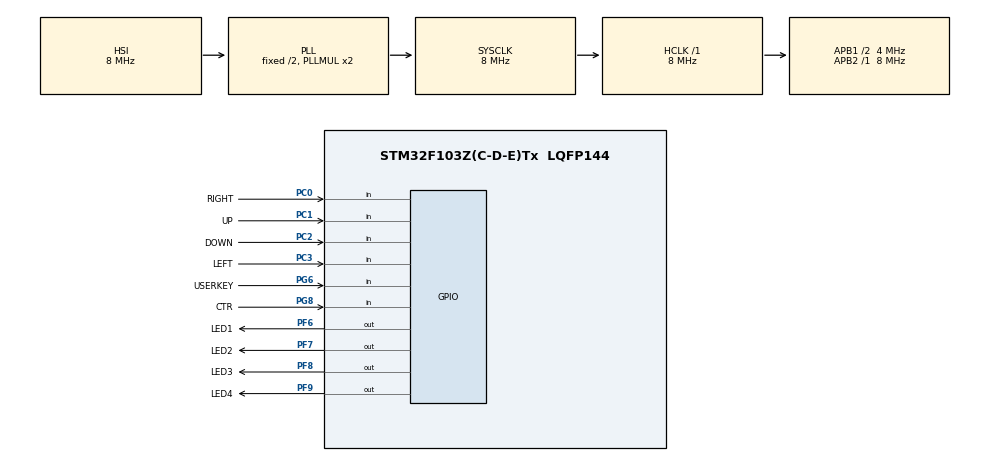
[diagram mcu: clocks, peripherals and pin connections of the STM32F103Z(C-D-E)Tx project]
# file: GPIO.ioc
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Mcu.Family=STM32F1
Mcu.Name=STM32F103Z(C-D-E)Tx
Mcu.Package=LQFP144
NVIC.PriorityGroup=NVIC_PRIORITYGROUP_4
OSC_IN.Mode=HSE-External-Oscillator
OSC_IN.Signal=RCC_OSC_IN
OSC_OUT.Mode=HSE-External-Oscillator
OSC_OUT.Signal=RCC_OSC_OUT
PC0.GPIO_Label=RIGHT
PC0.GPIO_PuPd=GPIO_PULLUP
PC0.Signal=GPIO_Input
PC1.GPIO_Label=UP
PC1.GPIO_PuPd=GPIO_PULLUP
PC1.Signal=GPIO_Input
PC2.GPIO_Label=DOWN
PC2.GPIO_PuPd=GPIO_PULLUP
PC2.Signal=GPIO_Input
PC3.GPIO_Label=LEFT
PC3.GPIO_PuPd=GPIO_PULLUP
PC3.Signal=GPIO_Input
PF6.GPIO_Label=LED1
PF6.GPIO_ModeDefaultOutputPP=GPIO_MODE_OUTPUT_PP
PF6.PinState=GPIO_PIN_RESET
PF6.Signal=GPIO_Output
PF7.GPIO_Label=LED2
PF7.GPIO_ModeDefaultOutputPP=GPIO_MODE_OUTPUT_PP
PF7.PinState=GPIO_PIN_RESET
PF7.Signal=GPIO_Output
PF8.GPIO_Label=LED3
PF8.GPIO_ModeDefaultOutputPP=GPIO_MODE_OUTPUT_PP
PF8.PinState=GPIO_PIN_RESET
PF8.Signal=GPIO_Output
PF9.GPIO_Label=LED4
PF9.GPIO_ModeDefaultOutputPP=GPIO_MODE_OUTPUT_PP
PF9.PinState=GPIO_PIN_RESET
PF9.Signal=GPIO_Output
PG6.GPIO_Label=USERKEY
PG6.GPIO_PuPd=GPIO_PULLUP
PG6.Signal=GPIO_Input
PG8.GPIO_Label=CTR
PG8.GPIO_PuPd=GPIO_PULLUP
PG8.Signal=GPIO_Input
ProjectManager.HeapSize=0x200
ProjectManager.StackSize=0x400
ProjectManager.TargetToolchain=MDK-ARM V5
RCC.AHBFreq_Value=8000000
RCC.APB1CLKDivider=RCC_HCLK_DIV2
RCC.APB1Freq_Value=4000000
RCC.APB1TimFreq_Value=8000000
RCC.APB2Freq_Value=8000000
RCC.APB2TimFreq_Value=8000000
RCC.HCLKFreq_Value=8000000
RCC.SYSCLKFreq_VALUE=8000000
RCC.SYSCLKSource=RCC_SYSCLKSOURCE_PLLCLK
RCC.USBFreq_Value=8000000
VP_SYS_VS_ND.Mode=No_Debug
board=GPIO

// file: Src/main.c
/**
  ******************************************************************************
  * File Name          : main.c
  * Description        : Main program body
  ******************************************************************************
  *
  * COPYRIGHT(c) 2016 STMicroelectronics
  *
  * Redistribution and use in source and binary forms, with or without modification,
  * are permitted provided that the following conditions are met:
  *   1. Redistributions of source code must retain the above copyright notice,
  *      this list of conditions and the following disclaimer.
  *   2. Redistributions in binary form must reproduce the above copyright notice,
  *      this list of conditions and the following disclaimer in the documentation
  *      and/or other materials provided with the distribution.
  *   3. Neither the name of STMicroelectronics nor the names of its contributors
  *      may be used to endorse or promote products derived from this software
  *      without specific prior written permission.
  *
  * THIS SOFTWARE IS PROVIDED BY THE COPYRIGHT HOLDERS AND CONTRIBUTORS "AS IS"
  * AND ANY EXPRESS OR IMPLIED WARRANTIES, INCLUDING, BUT NOT LIMITED TO, THE
  * IMPLIED WARRANTIES OF MERCHANTABILITY AND FITNESS FOR A PARTICULAR PURPOSE ARE
  * DISCLAIMED. IN NO EVENT SHALL THE COPYRIGHT HOLDER OR CONTRIBUTORS BE LIABLE
  * FOR ANY DIRECT, INDIRECT, INCIDENTAL, SPECIAL, EXEMPLARY, OR CONSEQUENTIAL
  * DAMAGES (INCLUDING, BUT NOT LIMITED TO, PROCUREMENT OF SUBSTITUTE GOODS OR
  * SERVICES; LOSS OF USE, DATA, OR PROFITS; OR BUSINESS INTERRUPTION) HOWEVER
  * CAUSED AND ON ANY THEORY OF LIABILITY, WHETHER IN CONTRACT, STRICT LIABILITY,
  * OR TORT (INCLUDING NEGLIGENCE OR OTHERWISE) ARISING IN ANY WAY OUT OF THE USE
  * OF THIS SOFTWARE, EVEN IF ADVISED OF THE POSSIBILITY OF SUCH DAMAGE.
  *
  ******************************************************************************
  */
#include "main.h"
#include "stm32f1xx_hal.h"
#include "gpio.h"

/* USER CODE BEGIN PV */
/* Private variables ---------------------------------------------------------*/

/* USER CODE END PV */

void SystemClock_Config(void);
void Error_Handler(void);

/* USER CODE BEGIN PFP */
/* Private function prototypes -----------------------------------------------*/

/* USER CODE END PFP */

int main(void)
{

  /* MCU Configuration----------------------------------------------------------*/

  /* Reset of all peripherals, Initializes the Flash interface and the Systick. */
  HAL_Init();

  /* Configure the system clock */
  SystemClock_Config();

  /* Initialize all configured peripherals */
  MX_GPIO_Init();

  /* Infinite loop */
  while (1)
  {

  /* USER CODE BEGIN 3 */
    switch(BSP_JOY_GetState())
    {
      case JOY_UP:
        BSP_LED_On(LED1); break;
      case JOY_RIGHT:
        BSP_LED_On(LED2); break;
      case JOY_DOWN:
        BSP_LED_On(LED3); break;
      case JOY_LEFT:
        BSP_LED_On(LED4); break;
      case JOY_CTR:
      case USERKEY:
        BSP_LED_On(LED1);
        BSP_LED_On(LED2);
        BSP_LED_On(LED3);
        BSP_LED_On(LED4);
        break;
      default:
        BSP_LED_Off(LED1);
        BSP_LED_Off(LED2);
        BSP_LED_Off(LED3);
        BSP_LED_Off(LED4);
        break;
    }
  }
  /* USER CODE END 3 */

}

/** System Clock Configuration
*/
void SystemClock_Config(void)
{

  RCC_OscInitTypeDef RCC_OscInitStruct;
  RCC_ClkInitTypeDef RCC_ClkInitStruct;

    /**Initializes the CPU, AHB and APB busses clocks
    */
  RCC_OscInitStruct.OscillatorType = RCC_OSCILLATORTYPE_HSI;
  RCC_OscInitStruct.HSIState = RCC_HSI_ON;
  RCC_OscInitStruct.HSICalibrationValue = 16;
  RCC_OscInitStruct.PLL.PLLState = RCC_PLL_ON;
  RCC_OscInitStruct.PLL.PLLSource = RCC_PLLSOURCE_HSI_DIV2;
  RCC_OscInitStruct.PLL.PLLMUL = RCC_PLL_MUL2;
  if (HAL_RCC_OscConfig(&RCC_OscInitStruct) != HAL_OK)
  {
    Error_Handler();
  }

    /**Initializes the CPU, AHB and APB busses clocks
    */
  RCC_ClkInitStruct.ClockType = RCC_CLOCKTYPE_HCLK|RCC_CLOCKTYPE_SYSCLK
                              |RCC_CLOCKTYPE_PCLK1|RCC_CLOCKTYPE_PCLK2;
  RCC_ClkInitStruct.SYSCLKSource = RCC_SYSCLKSOURCE_PLLCLK;
  RCC_ClkInitStruct.AHBCLKDivider = RCC_SYSCLK_DIV1;
  RCC_ClkInitStruct.APB1CLKDivider = RCC_HCLK_DIV2;
  RCC_ClkInitStruct.APB2CLKDivider = RCC_HCLK_DIV1;

  if (HAL_RCC_ClockConfig(&RCC_ClkInitStruct, FLASH_LATENCY_0) != HAL_OK)
  {
    Error_Handler();
  }

    /**Configure the Systick interrupt time
    */
  HAL_SYSTICK_Config(HAL_RCC_GetHCLKFreq()/1000);

    /**Configure the Systick
    */
  HAL_SYSTICK_CLKSourceConfig(SYSTICK_CLKSOURCE_HCLK);

  /* SysTick_IRQn interrupt configuration */
  HAL_NVIC_SetPriority(SysTick_IRQn, 0, 0);
}

void Error_Handler(void)
{
  while(1)
  {
  }
}

/************************ (C) COPYRIGHT STMicroelectronics *****END OF FILE****/
